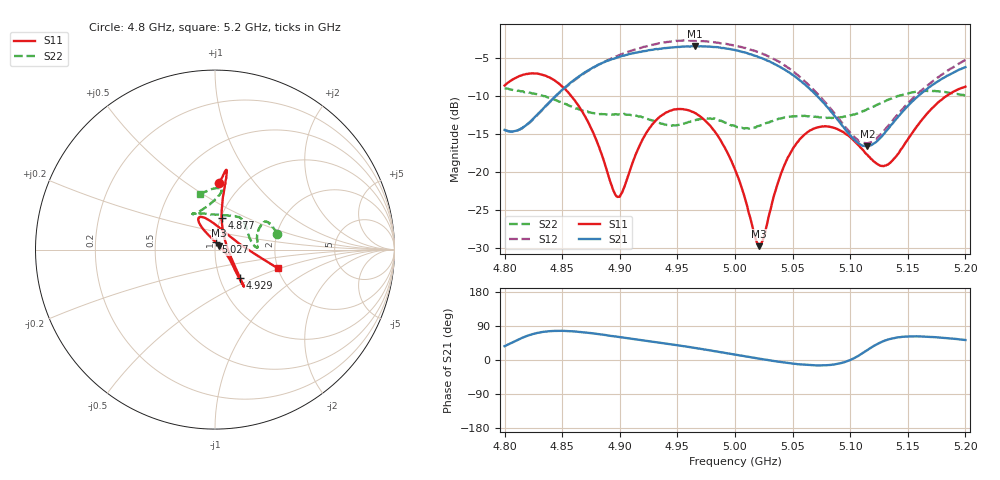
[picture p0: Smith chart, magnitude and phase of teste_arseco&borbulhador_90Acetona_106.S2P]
! Network Analyzer HP8722D
! Hewlett-Packard
! Data name: Linha & Wilkinson
! Saver's name: Rodrigo Anjos
! Comments: Teste da utilização de aquisição
! continua pelo VNA HP8722D
! Time and date: 17/4/2025 11:56
!  Frequency  S11  S21  S12  S22
# HZ  S  MA R 50
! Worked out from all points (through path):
!   401 points, 4.8 GHz to 5.2 GHz, reference 50 ohm
!   highest |S21| = -3.36 dB at 4.965 GHz (marker M1); lowest = -16.6 dB at 5.115 GHz (marker M2)
!   lowest |S11| = -29.8 dB at 5.021 GHz (marker M3), VSWR 1.07, Z = 52.4 + j2.3 ohm
!   |S11| at or under -10 dB: 4.858 GHz to 5.183 GHz (325 MHz wide, 6.47 % of centre)
!   |S22| runs from -14.3 to -8.9 dB; largest |S21 - S12| = 0.23
!   S11 on the Smith chart (normalised r, x): 4.8 GHz: 0.79, +0.68; 4.877 GHz: 1.01, +0.37; 4.929 GHz: 1.25, -0.41; 5.027 GHz: 1.00, +0.09; 5.2 GHz: 2.00, -0.49
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4.8e9  0.3733 86.2  0.19 36.6  0.1901 -3.2  0.3571 14.3
4.814e9  0.4333 82.9  0.1937 57.0  0.1926 18.0  0.3416 23.3
4.834e9  0.4365 81.3  0.2652 74.3  0.2642 37.7  0.3176 29.2
4.867e9  0.2536 81.0  0.4416 73.7  0.4378 43.6  0.2557 21.9
4.877e9  0.1816 78.1  0.4915 70.1  0.4891 42.8  0.2455 17.1
4.894e9  0.0772 44.5  0.5582 63.0  0.5692 40.3  0.2405 9.2
4.899e9  0.0689 15.5  0.575 60.7  0.5905 39.4  0.2408 7.1
4.918e9  0.1544 -42.1  0.6214 52.7  0.6594 35.4  0.2335 3.2
4.929e9  0.2098 -48.5  0.6425 48.3  0.6938 32.5  0.2189 6.3
4.934e9  0.2297 -50.0  0.6504 46.1  0.7092 30.7  0.2118 9.5
4.965e9  0.2461 -51.7  0.6789 31.8  0.7383 18.9  0.2204 41.2
4.983e9  0.1831 -47.8  0.6696 23.0  0.7168 12.1  0.224 54.1
5e9  0.1042 -35.3  0.6392 14.1  0.6837 5.9  0.2018 71.9
5.021e9  0.03254 42.5  0.5728 3.4  0.6166 -2.3  0.202 101.1
5.027e9  0.0429 85.3  0.5497 0.5  0.5909 -4.2  0.211 107.5
5.044e9  0.1163 118.6  0.4704 -7.1  0.5011 -10.3  0.2301 118.6
5.067e9  0.1913 119.2  0.3434 -13.8  0.3582 -13.6  0.2332 121.8
5.09e9  0.1904 109.9  0.2176 -9.4  0.2254 -5.0  0.228 112.4
5.115e9  0.13 82.8  0.1485 26.5  0.1553 34.3  0.2618 94.7
5.134e9  0.1144 35.3  0.1974 55.1  0.2066 65.2  0.3023 85.7
5.171e9  0.2639 -10.5  0.3748 60.7  0.3945 78.7  0.3439 87.7
5.2e9  0.3666 -16.7  0.493 52.7  0.5505 76.5  0.3217 104.5
